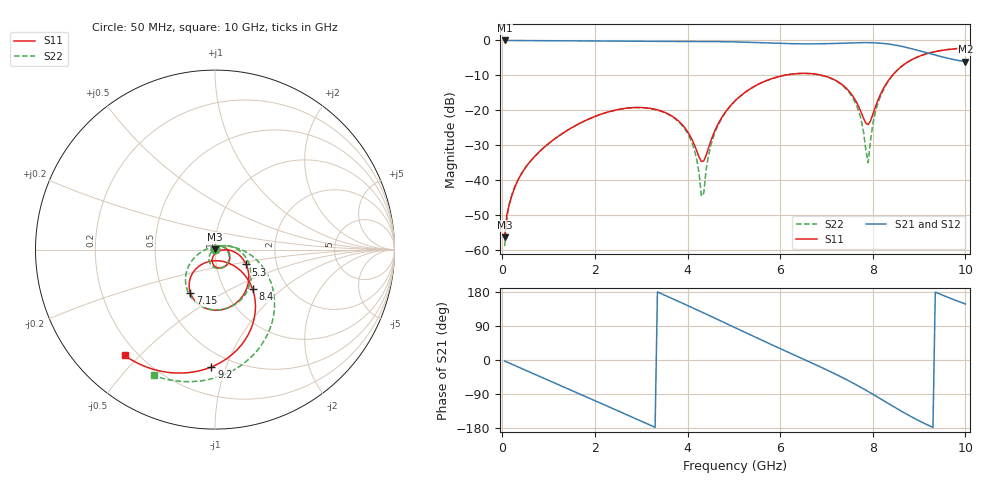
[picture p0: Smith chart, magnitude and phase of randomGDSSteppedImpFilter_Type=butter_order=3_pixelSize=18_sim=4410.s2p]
! freq	dB(S11)	phase(S11)	dB(S12)	phase(S12)
!  dB(S21)	phase(S21)	dB(S22)	phase(S22)
!S-par simulation data
#  GHz  S  DB  R 50
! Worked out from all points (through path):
!   200 points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, 50 MHz to 10 GHz, reference 50 ohm
!   highest |S21| = 0.00 dB at 50 MHz (marker M1); lowest = -6.1 dB at 10 GHz (marker M2)
!   group delay of S21, straight-line fit = 160 ps
!   lowest |S11| = -56.4 dB at 50 MHz (marker M3), VSWR 1.00, Z = 50 + j0.15 ohm
!   |S11| at or under -10 dB: start of sweep to 6.092 GHz; 6.903 GHz to 8.425 GHz (1.522 GHz wide, 19.9 % of centre)
!   |S22| runs from -59.0 to -2.2 dB; largest |S21 - S12| = 0
!   S11 on the Smith chart (normalised r, x): 50 MHz: 1.00, +0.00; 5.3 GHz: 1.40, -0.24; 7.15 GHz: 0.68, -0.36; 8.4 GHz: 1.35, -0.65; 9.2 GHz: 0.39, -0.89; 10 GHz: 0.15, -0.45
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0.05  -56.43 84.2  -0.00 -2.7  -0.00 -2.7  -59.00 71.2
0.15  -47.11 74.7  -0.02 -8.1  -0.02 -8.1  -46.85 73.7
0.45  -37.47 65.8  -0.04 -24.2  -0.04 -24.2  -37.41 63.9
1.75  -23.26 -0.6  -0.13 -93.9  -0.13 -93.9  -23.27 -5.1
2.65  -19.48 -47.9  -0.22 -142.4  -0.22 -142.4  -19.51 -54.0
3.4  -20.10 -85.7  -0.27 176.9  -0.27 176.9  -20.18 -95.4
4.05  -27.22 -106.3  -0.28 141.0  -0.28 141.0  -27.90 -135.1
4.2  -31.68 -94.9  -0.29 132.6  -0.29 132.6  -34.16 -150.5
4.3  -34.70 -64.8  -0.29 126.9  -0.29 126.9  -44.69 165.0
4.55  -27.15 -2.6  -0.32 112.7  -0.32 112.7  -27.95 29.7
5.05  -17.01 -13.5  -0.43 84.0  -0.43 84.0  -17.08 -3.6
5.3  -14.34 -25.5  -0.52 69.7  -0.52 69.7  -14.37 -18.4
6  -10.27 -61.5  -0.84 30.1  -0.84 30.1  -10.28 -58.4
6.7  -9.56 -97.4  -0.99 -8.7  -0.99 -8.7  -9.59 -97.6
7.15  -11.13 -119.6  -0.87 -34.6  -0.87 -34.6  -11.24 -124.1
7.65  -17.74 -134.1  -0.65 -65.9  -0.65 -65.9  -18.64 -160.2
7.9  -24.13 -83.9  -0.62 -83.1  -0.62 -83.1  -35.07 84.5
8.05  -19.31 -44.5  -0.69 -93.8  -0.69 -93.8  -20.88 11.1
8.35  -11.26 -44.0  -1.05 -115.8  -1.05 -115.8  -11.42 -17.9
8.4  -10.39 -46.3  -1.14 -119.4  -1.14 -119.4  -10.51 -21.9
9.2  -3.68 -91.8  -3.65 -172.4  -3.65 -172.4  -3.65 -76.4
10  -2.21 -130.5  -6.10 147.8  -6.10 147.8  -2.16 -116.0
